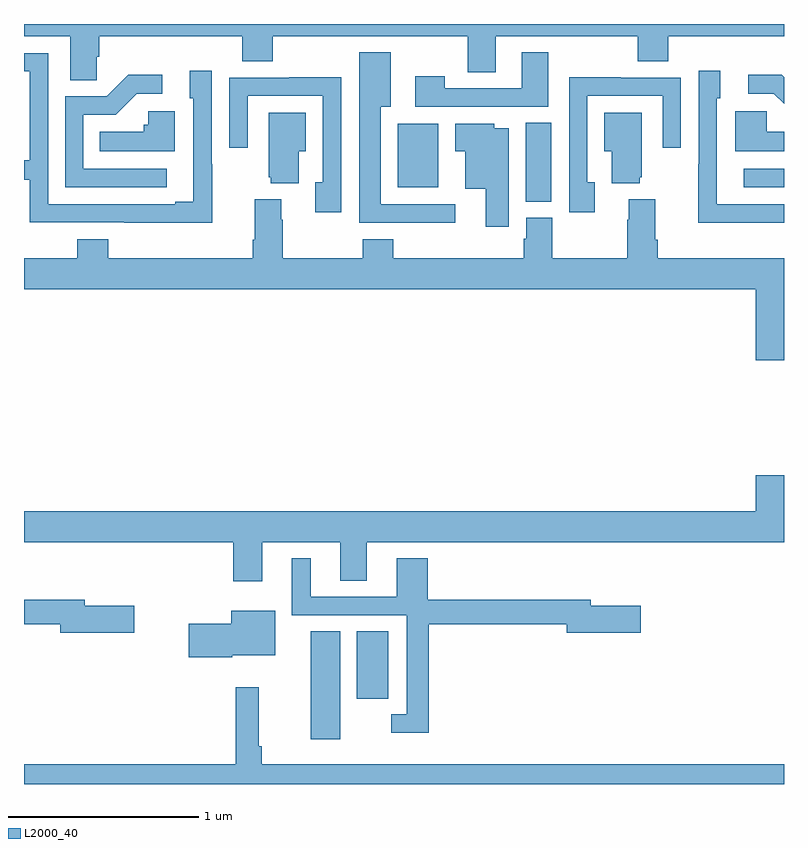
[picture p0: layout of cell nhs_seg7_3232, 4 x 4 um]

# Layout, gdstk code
import gdstk
lib = gdstk.Library(unit=1e-6, precision=1e-09)
def R(c, l, rs):  # rectangles x0, y0, x1, y1
    for r in rs: c.add(gdstk.rectangle(r[:2], r[2:], *l))
def P(c, l, *ps):  # polygons
    for p in ps: c.add(gdstk.Polygon(p, *l))
L2000_40 = (2000, 40)

nhs_seg7_3232 = lib.new_cell('nhs_seg7_3232')
R(nhs_seg7_3232, L2000_40, [(318.509,1010.235,318.664,1010.804), (318.752,1010.448,318.916,1010.804), (319.64,1013.065,319.774,1013.48), (318.968,1013.141,319.18,1013.476), (320.787,1013.142,321,1013.238)])
P(nhs_seg7_3232, L2000_40, [(317.382,1013.827),(317.396,1013.827),(317.396,1013.936),(318.149,1013.936),(318.149,1013.803),(318.309,1013.803),(318.309,1013.936),(319.336,1013.936),(319.336,1013.746),(319.483,1013.746),(319.483,1013.936),(320.23,1013.936),(320.23,1013.803),(320.39,1013.803),(320.39,1013.936),(321,1013.936),(321,1014),(317,1014),(317,1013.936),(317.243,1013.936),(317.243,1013.704),(317.382,1013.704)],
  [(319.27,1013.052),(318.877,1013.052),(318.877,1013.564),(318.931,1013.564),(318.931,1013.851),(318.764,1013.851),(318.764,1012.955),(319.27,1012.955)],
  [(319.759,1013.851),(319.619,1013.851),(319.619,1013.661),(319.215,1013.661),(319.215,1013.725),(319.059,1013.725),(319.059,1013.565),(319.759,1013.565)],
  [(317.991,1013.261),(317.988,1013.261),(317.988,1013.755),(317.873,1013.755),(317.873,1013.61),(317.892,1013.61),(317.892,1013.065),(317.795,1013.065),(317.795,1013.052),(317.127,1013.052),(317.127,1013.847),(317,1013.847),(317,1013.751),(317.031,1013.751),(317.031,1013.282),(317,1013.282),(317,1013.181),(317.031,1013.181),(317.031,1012.956),(317.527,1012.956),(317.527,1012.955),(317.991,1012.955)],
  [(321,1013.052),(320.647,1013.052),(320.647,1013.285),(320.646,1013.285),(320.646,1013.61),(320.665,1013.61),(320.665,1013.755),(320.55,1013.755),(320.55,1013.261),(320.548,1013.261),(320.548,1012.955),(321,1012.955)],
  [(321,1013.721),(320.989,1013.732),(320.811,1013.732),(320.811,1013.634),(320.945,1013.634),(321,1013.579)],
  [(317.752,1013.238),(317.313,1013.238),(317.313,1013.523),(317.482,1013.523),(317.593,1013.634),(317.728,1013.634),(317.728,1013.732),(317.549,1013.732),(317.436,1013.619),(317.217,1013.619),(317.217,1013.142),(317.752,1013.142)],
  [(320.005,1013.166),(319.965,1013.166),(319.965,1013.622),(320.361,1013.622),(320.361,1013.349),(320.457,1013.349),(320.457,1013.718),(320.141,1013.718),(320.141,1013.72),(319.869,1013.72),(319.869,1013.01),(320.005,1013.01)],
  [(318.669,1013.72),(318.397,1013.72),(318.397,1013.718),(318.081,1013.718),(318.081,1013.349),(318.177,1013.349),(318.177,1013.622),(318.573,1013.622),(318.573,1013.166),(318.533,1013.166),(318.533,1013.01),(318.669,1013.01)],
  [(317.794,1013.542),(317.655,1013.542),(317.655,1013.469),(317.629,1013.469),(317.629,1013.434),(317.398,1013.434),(317.398,1013.33),(317.794,1013.33)],
  [(321,1013.434),(320.91,1013.434),(320.91,1013.542),(320.744,1013.542),(320.744,1013.33),(321,1013.33)],
  [(318.445,1013.33),(318.484,1013.33),(318.484,1013.533),(318.287,1013.533),(318.287,1013.193),(318.299,1013.193),(318.299,1013.162),(318.445,1013.162)],
  [(320.24,1013.193),(320.251,1013.193),(320.251,1013.533),(320.054,1013.533),(320.054,1013.33),(320.093,1013.33),(320.093,1013.162),(320.24,1013.162)],
  [(319.552,1013.452),(319.476,1013.452),(319.476,1013.476),(319.271,1013.476),(319.271,1013.33),(319.322,1013.33),(319.322,1013.132),(319.43,1013.132),(319.43,1012.932),(319.552,1012.932)],
  [(321,1012.768),(320.336,1012.768),(320.336,1012.864),(320.323,1012.864),(320.323,1013.077),(320.183,1013.077),(320.183,1012.97),(320.176,1012.97),(320.176,1012.768),(319.779,1012.768),(319.779,1012.98),(319.643,1012.98),(319.643,1012.869),(319.631,1012.869),(319.631,1012.768),(318.944,1012.768),(318.944,1012.867),(318.784,1012.867),(318.784,1012.768),(318.363,1012.768),(318.363,1012.97),(318.355,1012.97),(318.355,1013.077),(318.215,1013.077),(318.215,1012.864),(318.203,1012.864),(318.203,1012.768),(317.444,1012.768),(317.444,1012.867),(317.279,1012.867),(317.279,1012.768),(317,1012.768),(317,1012.604),(320.852,1012.604),(320.852,1012.23),(321,1012.23)],
  [(318.253,1011.272),(318.665,1011.272),(318.665,1011.07),(318.805,1011.07),(318.805,1011.272),(321,1011.272),(321,1011.625),(320.852,1011.625),(320.852,1011.436),(317,1011.436),(317,1011.272),(318.101,1011.272),(318.101,1011.066),(318.253,1011.066)],
  [(319.13,1010.842),(319.856,1010.842),(319.856,1010.795),(320.245,1010.795),(320.245,1010.937),(319.984,1010.937),(319.984,1010.971),(319.124,1010.971),(319.124,1011.187),(318.962,1011.187),(318.962,1010.985),(318.508,1010.985),(318.508,1011.187),(318.41,1011.187),(318.41,1010.889),(319.014,1010.889),(319.014,1010.367),(318.933,1010.367),(318.933,1010.27),(319.13,1010.27)],
  [(317.581,1010.937),(317.32,1010.937),(317.32,1010.971),(317,1010.971),(317,1010.842),(317.192,1010.842),(317.192,1010.795),(317.581,1010.795)],
  [(318.096,1010.678),(318.322,1010.678),(318.322,1010.911),(318.092,1010.911),(318.092,1010.844),(317.868,1010.844),(317.868,1010.666),(318.096,1010.666)],
  [(321,1010.104),(318.251,1010.104),(318.251,1010.2),(318.236,1010.2),(318.236,1010.509),(318.115,1010.509),(318.115,1010.104),(317,1010.104),(317,1010),(321,1010)])

lib.write_gds('nhs_seg7_3232.gds')
